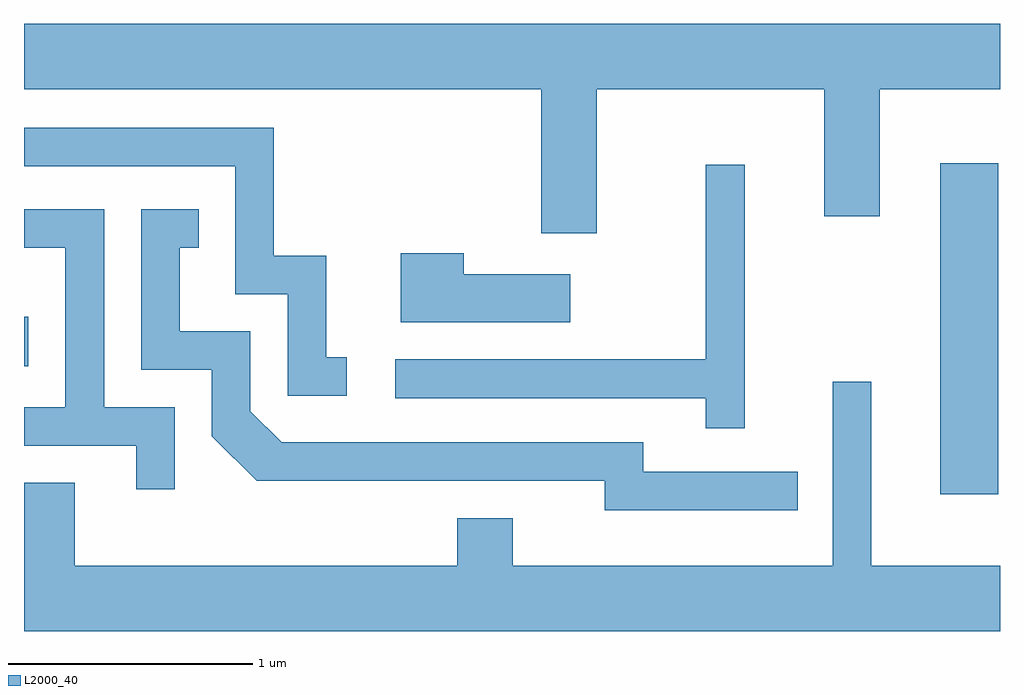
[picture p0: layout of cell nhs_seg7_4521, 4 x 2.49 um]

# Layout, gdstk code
import gdstk
lib = gdstk.Library(unit=1e-6, precision=1e-09)
def R(c, l, rs):  # rectangles x0, y0, x1, y1
    for r in rs: c.add(gdstk.rectangle(r[:2], r[2:], *l))
def P(c, l, *ps):  # polygons
    for p in ps: c.add(gdstk.Polygon(p, *l))
L2000_40 = (2000, 40)

nhs_seg7_4521 = lib.new_cell('nhs_seg7_4521')
R(nhs_seg7_4521, L2000_40, [(327.366,1754.836,327.604,1756.194), (323.611,1755.361,323.629,1755.564)])
P(nhs_seg7_4521, L2000_40, [(325.959,1756.496),(326.891,1756.496),(326.891,1755.976),(327.119,1755.976),(327.119,1756.496),(327.611,1756.496),(327.611,1756.764),(323.611,1756.764),(323.611,1756.496),(325.731,1756.496),(325.731,1755.906),(325.959,1755.906)],
  [(324.933,1755.399),(324.849,1755.399),(324.849,1755.814),(324.634,1755.814),(324.634,1756.339),(323.611,1756.339),(323.611,1756.181),(324.476,1756.181),(324.476,1755.656),(324.691,1755.656),(324.691,1755.241),(324.933,1755.241)],
  [(326.564,1756.188),(326.406,1756.188),(326.406,1755.389),(325.133,1755.389),(325.133,1755.231),(326.406,1755.231),(326.406,1755.108),(326.564,1755.108)],
  [(324.229,1755.194),(323.939,1755.194),(323.939,1756.004),(323.611,1756.004),(323.611,1755.846),(323.781,1755.846),(323.781,1755.194),(323.611,1755.194),(323.611,1755.036),(324.071,1755.036),(324.071,1754.858),(324.229,1754.858)],
  [(326.783,1754.929),(326.149,1754.929),(326.149,1755.049),(324.667,1755.049),(324.539,1755.177),(324.539,1755.504),(324.249,1755.504),(324.249,1755.846),(324.328,1755.846),(324.328,1756.004),(324.091,1756.004),(324.091,1755.346),(324.381,1755.346),(324.381,1755.074),(324.564,1754.891),(325.991,1754.891),(325.991,1754.771),(326.783,1754.771)],
  [(325.849,1755.739),(325.414,1755.739),(325.414,1755.824),(325.156,1755.824),(325.156,1755.541),(325.849,1755.541)],
  [(327.611,1754.544),(327.084,1754.544),(327.084,1755.298),(326.926,1755.298),(326.926,1754.544),(325.614,1754.544),(325.614,1754.739),(325.386,1754.739),(325.386,1754.544),(323.819,1754.544),(323.819,1754.884),(323.611,1754.884),(323.611,1754.276),(327.611,1754.276)])

lib.write_gds('nhs_seg7_4521.gds')
